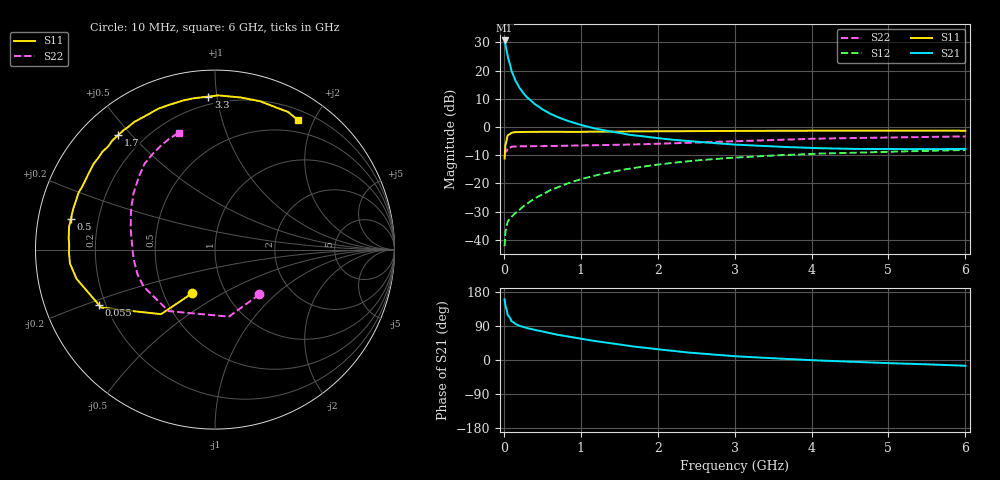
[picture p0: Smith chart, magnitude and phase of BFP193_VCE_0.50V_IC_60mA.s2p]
! Infineon Technologies  Discrete & RF Semiconductors
! BFP193
! VCE = 0.50V,  IC =  60 mA
! Common Emitter S-Parameters:  Jan 2016
# GHz  S  MA  R  50
!  f  S11  S21  S12  S22
! GHz  MAG  ANG  MAG  ANG  MAG  ANG  MAG  ANG
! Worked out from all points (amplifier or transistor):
!   210 points, 10 MHz to 6 GHz, reference 50 ohm
!   highest |S21| = 30.7 dB at 10 MHz (marker M1)
!   |S21| within 3 dB of that: start of sweep to 31.76 MHz
!   unconditionally stable (mu >= 1): start of sweep to 18.49 MHz; 170.1 MHz to end of sweep
!   at 185 MHz: K = 1.04, MAG = 21.1 dB, |S12| = -29.8 dB
!   at 1.52 GHz: K = 1.32, MAG = 3.2 dB, |S12| = -15.3 dB
!   at 6 GHz: K = 1.10, MAG = -1.8 dB, |S12| = -8.1 dB
!   S11 on the Smith chart (normalised r, x): 10 MHz: 0.69, -0.37; 55 MHz: 0.17, -0.22; 500 MHz: 0.10, +0.10; 1.7 GHz: 0.11, +0.46; 3.3 GHz: 0.15, +0.95; 6 GHz: 0.33, +1.79
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0.01  0.2759 -117.8  34.26 160.1  0.0077 62.5  0.3518 -45.2
0.02  0.4688 -129.9  29.27 143.8  0.0135 55.0  0.3813 -78.3
0.05  0.7116 -153.0  17.75 118.2  0.021 41.5  0.4297 -127.1
0.055  0.7169 -154.6  16.91 117.3  0.0215 41.5  0.4276 -129.7
0.1  0.7884 -168.1  9.782 102.3  0.0257 41.5  0.4479 -152.7
0.15  0.8116 -174.5  6.672 95.1  0.0298 44.3  0.4534 -162.3
0.2  0.8137 -178.7  5.044 90.3  0.0337 48.9  0.4525 -167.5
0.26  0.8134 177.6  3.887 86.4  0.0397 52.9  0.4552 -171.5
0.3  0.8174 175.8  3.368 84.1  0.0435 54.9  0.456 -173.3
0.4  0.8228 171.2  2.559 79.3  0.0536 58.6  0.4572 -176.7
0.5  0.8211 168.0  2.064 75.2  0.0636 60.4  0.4585 -179.1
0.6  0.8218 164.2  1.726 70.8  0.075 61.2  0.4595 178.8
0.7  0.8207 160.6  1.496 66.5  0.0852 61.2  0.4623 177.1
1.02  0.8209 150.2  1.072 55.4  0.1205 59.1  0.4699 172.3
1.3  0.8266 141.8  0.872 46.6  0.1494 55.4  0.4775 168.3
1.7  0.8346 130.2  0.709 35.2  0.1884 49.7  0.4908 162.7
2.02  0.8409 121.8  0.629 27.9  0.2168 44.3  0.5053 158.2
3.1  0.8512 96.2  0.48 8.9  0.2914 27.3  0.5636 141.7
3.3  0.8534 92.5  0.466 6.7  0.3019 24.5  0.575 138.9
4.1  0.8593 79.0  0.421 -1.3  0.3368 13.5  0.621 128.2
5.1  0.8621 66.5  0.406 -8.9  0.3665 2.1  0.6543 116.8
6  0.8571 57.2  0.409 -15.2  0.3915 -7.6  0.6811 107.3
